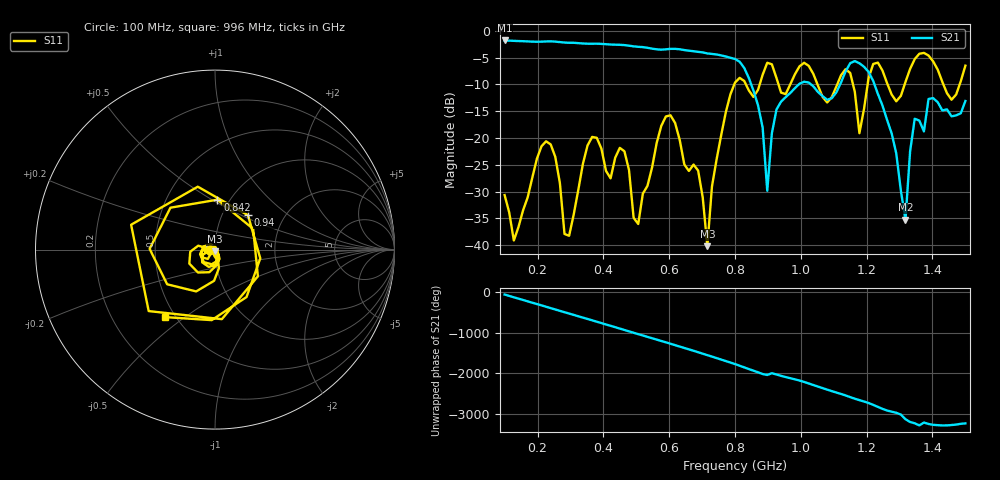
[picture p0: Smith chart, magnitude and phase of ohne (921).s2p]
! NanoVNA-App
! Date: 2025-09-25 14:27:58
! Start: 100MHz Stop: 1,5GHz Points: 101
! S-Parameter data: F S11 S21 S12 S22
# Hz S RI R 50
!  Frequency  S11_Real  S11_Imag  S21_Real  S21_Imag  S12_Real  S12_Imag  S22_Real  S22_Imag
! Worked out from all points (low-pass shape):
!   101 points, 100 MHz to 1.5 GHz, reference 50 ohm
!   highest |S21| = -1.79 dB at 100 MHz (marker M1); lowest = -35.2 dB at 1.318 GHz (marker M2)
!   |S21| within 3 dB of the highest: start of sweep to 772.5 MHz
!   lowest |S11| = -40.2 dB at 716 MHz (marker M3), VSWR 1.02, Z = 49.8 - j0.963 ohm
!   |S11| at or under -10 dB: start of sweep to 797.8 MHz; 833.2 MHz to 875 MHz (41.83 MHz wide, 4.9 % of centre); 1.051 GHz to 1.111 GHz (59.9 MHz wide, 5.54 % of centre) (the widest 3 of 7)
!   S12 and S22 are empty: the file has one direction only
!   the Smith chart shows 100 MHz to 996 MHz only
!   S11 on the Smith chart (normalised r, x): 100 MHz: 0.94, -0.01; 842 MHz: 0.88, +0.53; 940 MHz: 1.32, +0.55; 996 MHz: 0.44, -0.43
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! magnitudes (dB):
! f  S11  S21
! 100 MHz  -30.6  -1.8
! 128 MHz  -39.1  -1.9
! 226 MHz  -20.6  -2.0
! 296 MHz  -38.2  -2.2
! 338 MHz  -24.8  -2.4
! 464 MHz  -22.5  -2.7
! 506 MHz  -36.0  -3.0
! 576 MHz  -17.7  -3.5
! 688 MHz  -26.1  -3.9
! 716 MHz  -40.2  -4.2
! 800 MHz  -9.7  -5.2
! 842 MHz  -11.1  -8.8
! 898 MHz  -6.0  -29.8
! 940 MHz  -11.5  -13.2
! 996 MHz  -6.6  -9.9
! 1.038 GHz  -8.0  -10.3
! 1.178 GHz  -19.1  -6.0
! 1.22 GHz  -6.2  -9.4
! 1.276 GHz  -11.9  -19.1
! 1.318 GHz  -9.5  -35.2
! 1.346 GHz  -5.3  -16.4
! 1.5 GHz  -6.5  -13.1
